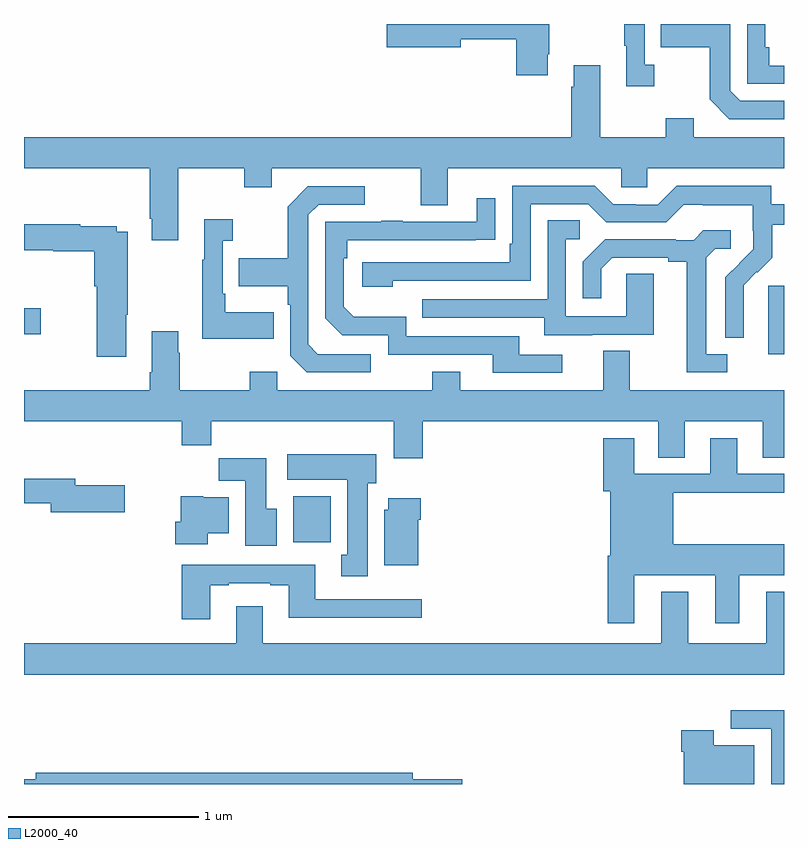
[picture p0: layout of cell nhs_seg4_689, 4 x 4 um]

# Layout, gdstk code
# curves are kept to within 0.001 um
import gdstk
lib = gdstk.Library(unit=1e-6, precision=1e-09)
def R(c, l, rs):  # rectangles x0, y0, x1, y1
    for r in rs: c.add(gdstk.rectangle(r[:2], r[2:], *l))
def P(c, l, *ps):  # polygons
    for p in ps: c.add(gdstk.Polygon(p, *l))
L2000_40 = (2000, 40)

nhs_seg4_689 = lib.new_cell('nhs_seg4_689')
R(nhs_seg4_689, L2000_40, [(146.417,808.172,146.614,808.414), (148.916,809.162,149,809.523), (145,809.266,145.087,809.403)])
P(nhs_seg4_689, L2000_40, [(148.318,810.686),(148.266,810.686),(148.266,810.9),(148.158,810.9),(148.158,810.785),(148.169,810.785),(148.169,810.573),(148.318,810.573)],
  [(147.757,810.742),(147.765,810.742),(147.765,810.9),(146.91,810.9),(146.91,810.778),(147.298,810.778),(147.298,810.82),(147.59,810.82),(147.59,810.63),(147.757,810.63)],
  [(149,810.495),(148.77,810.495),(148.716,810.549),(148.716,810.9),(148.351,810.9),(148.351,810.778),(148.608,810.778),(148.608,810.505),(148.713,810.399),(149,810.399)],
  [(149,810.681),(148.922,810.681),(148.922,810.778),(148.902,810.778),(148.902,810.9),(148.806,810.9),(148.806,810.585),(149,810.585)],
  [(145.813,810.14),(146.158,810.14),(146.158,810.041),(146.305,810.041),(146.305,810.14),(147.089,810.14),(147.089,809.946),(147.229,809.946),(147.229,810.14),(148.143,810.14),(148.143,810.042),(148.281,810.042),(148.281,810.14),(149,810.14),(149,810.304),(148.525,810.304),(148.525,810.403),(148.378,810.403),(148.378,810.304),(148.033,810.304),(148.033,810.682),(147.893,810.682),(147.893,810.569),(147.881,810.569),(147.881,810.304),(145,810.304),(145,810.14),(145.661,810.14),(145.661,809.875),(145.673,809.875),(145.673,809.763),(145.813,809.763)],
  [(148.788,809.402),(148.787,809.525),(148.857,809.595),(148.86,809.592),(148.937,809.669),(148.937,809.844),(149,809.844),(149,809.952),(148.932,809.952),(148.932,810.049),(148.435,810.049),(148.335,809.949),(148.22,809.949),(148.22,809.952),(148.101,809.952),(148.005,810.048),(147.57,810.048),(147.57,809.743),(147.557,809.743),(147.557,809.646),(146.781,809.646),(146.781,809.516),(146.942,809.516),(146.942,809.55),(147.666,809.55),(147.666,809.952),(147.969,809.952),(148.065,809.856),(148.38,809.856),(148.473,809.949),(148.573,809.949),(148.573,809.945),(148.836,809.945),(148.836,809.811),(148.838,809.811),(148.838,809.714),(148.692,809.566),(148.692,809.248),(148.788,809.248)],
  [(146.824,809.163),(146.547,809.163),(146.496,809.214),(146.496,809.895),(146.55,809.949),(146.794,809.949),(146.794,810.045),(146.493,810.045),(146.388,809.939),(146.388,809.667),(146.131,809.667),(146.131,809.519),(146.388,809.519),(146.388,809.423),(146.4,809.423),(146.4,809.154),(146.487,809.067),(146.824,809.067)],
  [(147.832,809.16),(147.607,809.16),(147.607,809.256),(147.012,809.256),(147.012,809.359),(146.735,809.359),(146.682,809.412),(146.682,809.666),(146.702,809.666),(146.702,809.763),(147.479,809.764),(147.479,809.983),(147.383,809.983),(147.383,809.859),(146.993,809.859),(146.993,809.864),(146.881,809.864),(146.881,809.859),(146.586,809.859),(146.586,809.352),(146.676,809.262),(146.916,809.262),(146.916,809.16),(147.467,809.16),(147.467,809.064),(147.832,809.064)],
  [(146.315,809.383),(146.059,809.383),(146.059,809.479),(146.046,809.479),(146.046,809.759),(146.098,809.759),(146.098,809.872),(145.949,809.872),(145.949,809.659),(145.938,809.659),(145.938,809.243),(146.315,809.243)],
  [(147.991,809.265),(148.315,809.265),(148.315,809.585),(148.17,809.585),(148.17,809.361),(147.852,809.361),(147.852,809.766),(147.925,809.766),(147.925,809.867),(147.756,809.867),(147.756,809.451),(147.097,809.451),(147.097,809.355),(147.737,809.355),(147.737,809.261),(147.991,809.261)],
  [(145.537,809.371),(145.545,809.371),(145.545,809.806),(145.488,809.806),(145.488,809.835),(145.296,809.835),(145.296,809.847),(145,809.847),(145,809.71),(145.155,809.71),(145.155,809.705),(145.37,809.705),(145.37,809.521),(145.382,809.521),(145.382,809.148),(145.537,809.148)],
  [(148.702,809.163),(148.591,809.163),(148.591,809.671),(148.638,809.718),(148.72,809.718),(148.72,809.815),(148.576,809.815),(148.524,809.763),(148.43,809.763),(148.43,809.766),(148.058,809.766),(147.942,809.65),(147.942,809.457),(148.039,809.457),(148.039,809.613),(148.096,809.67),(148.391,809.67),(148.391,809.648),(148.487,809.648),(148.487,809.067),(148.702,809.067)],
  [(147.098,808.808),(148.337,808.808),(148.337,808.618),(148.477,808.618),(148.477,808.808),(148.889,808.808),(148.889,808.618),(149,808.618),(149,808.972),(148.189,808.972),(148.189,809.18),(148.049,809.18),(148.049,808.972),(147.295,808.972),(147.295,809.071),(147.148,809.071),(147.148,808.972),(146.334,808.972),(146.334,809.071),(146.188,809.071),(146.188,808.972),(145.821,808.972),(145.821,809.171),(145.813,809.171),(145.813,809.284),(145.673,809.284),(145.673,809.068),(145.661,809.068),(145.661,808.972),(145,808.972),(145,808.808),(145.829,808.808),(145.829,808.684),(145.985,808.684),(145.985,808.808),(146.945,808.808),(146.945,808.614),(147.098,808.614)],
  [(148.213,807.998),(148.637,807.998),(148.637,807.747),(148.765,807.747),(148.765,807.998),(149,807.998),(149,808.162),(148.417,808.162),(148.417,808.432),(149,808.432),(149,808.533),(148.753,808.533),(148.753,808.72),(148.613,808.72),(148.613,808.533),(148.213,808.533),(148.213,808.72),(148.049,808.72),(148.049,808.44),(148.085,808.44),(148.085,808.102),(148.073,808.102),(148.073,807.747),(148.213,807.747)],
  [(146.809,808.482),(146.854,808.482),(146.854,808.636),(146.385,808.636),(146.385,808.502),(146.702,808.502),(146.702,808.106),(146.669,808.106),(146.669,807.993),(146.809,807.993)],
  [(146.329,808.348),(146.275,808.348),(146.275,808.615),(146.026,808.615),(146.026,808.496),(146.165,808.496),(146.165,808.155),(146.329,808.155)],
  [(145.531,808.473),(145.27,808.473),(145.27,808.507),(145,808.507),(145,808.378),(145.142,808.378),(145.142,808.331),(145.531,808.331)],
  [(145.966,808.22),(146.077,808.22),(146.077,808.408),(145.944,808.408),(145.944,808.414),(145.826,808.414),(145.826,808.281),(145.796,808.281),(145.796,808.163),(145.966,808.163)],
  [(147.076,808.292),(147.089,808.292),(147.089,808.405),(146.918,808.405),(146.918,808.344),(146.897,808.344),(146.897,808.052),(147.076,808.052)],
  [(145.981,807.945),(146.077,807.945),(146.077,807.957),(146.297,807.957),(146.297,807.945),(146.393,807.945),(146.393,807.776),(147.094,807.776),(147.094,807.873),(146.533,807.873),(146.533,808.053),(145.829,808.053),(145.829,807.768),(145.981,807.768)],
  [(149,807.913),(148.907,807.913),(148.907,807.64),(148.495,807.64),(148.495,807.913),(148.355,807.913),(148.355,807.64),(146.257,807.64),(146.257,807.835),(146.117,807.835),(146.117,807.64),(145,807.64),(145,807.476),(149,807.476)],
  [(149,807.288),(148.719,807.288),(148.719,807.192),(148.932,807.192),(148.932,806.9),(149,806.9)],
  [(148.843,807.103),(148.63,807.103),(148.63,807.184),(148.46,807.184),(148.46,807.071),(148.472,807.071),(148.472,806.9),(148.843,806.9)],
  [(147.307,806.924),(147.046,806.924),(147.046,806.96),(145.061,806.96),(145.061,806.924),(145,806.924),(145,806.9),(147.307,806.9)])

lib.write_gds('nhs_seg4_689.gds')
